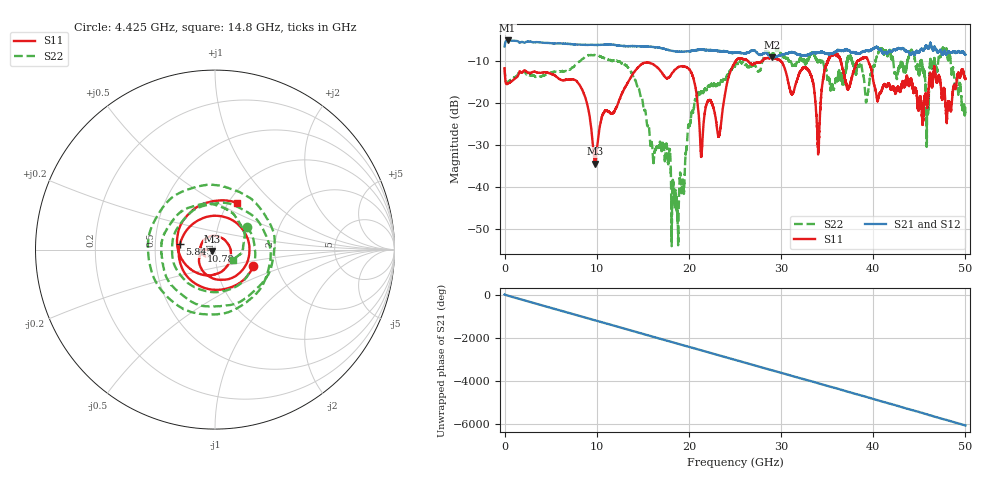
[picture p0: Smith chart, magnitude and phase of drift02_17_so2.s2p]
!Created with skrf (http://scikit-rf.org).
# Hz S RI R 50.0
!freq ReS11 ImS11 ReS21 ImS21 ReS12 ImS12 ReS22 ImS22
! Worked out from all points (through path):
!   10001 points, 300 kHz to 50 GHz, reference 50 ohm
!   highest |S21| = -5.04 dB at 325.3 MHz (marker M1); lowest = -9.0 dB at 29.05 GHz (marker M2)
!   group delay of S21, straight-line fit = 336 ps
!   lowest |S11| = -34.4 dB at 9.815 GHz (marker M3), VSWR 1.04, Z = 48.4 - j0.889 ohm
!   |S11| at or under -10 dB: start of sweep to 25.06 GHz; 29.98 GHz to 35.04 GHz (5.063 GHz wide, 15.6 % of centre); 39.47 GHz to end of sweep (the widest 3 of 10)
!   |S22| runs from -54.1 to -6.7 dB; largest |S21 - S12| = 0.021
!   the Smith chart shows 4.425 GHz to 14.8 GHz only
!   S11 on the Smith chart (normalised r, x): 4.425 GHz: 1.51, -0.30; 5.845 GHz: 0.67, +0.04; 10.78 GHz: 0.86, -0.01; 14.8 GHz: 1.10, +0.62
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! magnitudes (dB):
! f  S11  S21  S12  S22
! 300 kHz  -11.7  -6.5  -6.4  -11.5
! 325.3 MHz  -15.4  -5.0  -5.0  -15.0
! 4.425 GHz  -12.6  -5.6  -5.6  -13.3
! 5.845 GHz  -14.1  -5.7  -5.7  -12.5
! 8.335 GHz  -16.4  -6.0  -6.0  -9.6
! 9.815 GHz  -34.4  -6.1  -6.1  -8.5
! 10.78 GHz  -22.2  -6.1  -6.1  -9.2
! 14.8 GHz  -10.8  -6.4  -6.4  -18.5
! 16.67 GHz  -11.7  -6.7  -6.7  -30.4
! 18.68 GHz  -11.7  -7.7  -7.7  -44.6
! 20.37 GHz  -13.3  -7.5  -7.5  -22.1
! 21.37 GHz  -32.5  -7.3  -7.2  -17.0
! 23.3 GHz  -27.6  -7.5  -7.6  -15.6
! 25 GHz  -10.3  -8.0  -8.0  -11.1
! 29.05 GHz  -9.1  -9.0  -9.0  -8.2
! 33.34 GHz  -14.0  -8.1  -8.2  -8.0
! 34.02 GHz  -30.7  -7.9  -8.0  -10.2
! 35.5 GHz  -8.5  -8.2  -8.1  -15.7
! 41.67 GHz  -15.4  -7.7  -7.7  -7.7
! 45.85 GHz  -20.6  -6.7  -6.7  -20.5
! 47.77 GHz  -17.7  -7.6  -7.6  -7.3
! 50 GHz  -14.2  -8.4  -8.4  -21.1
